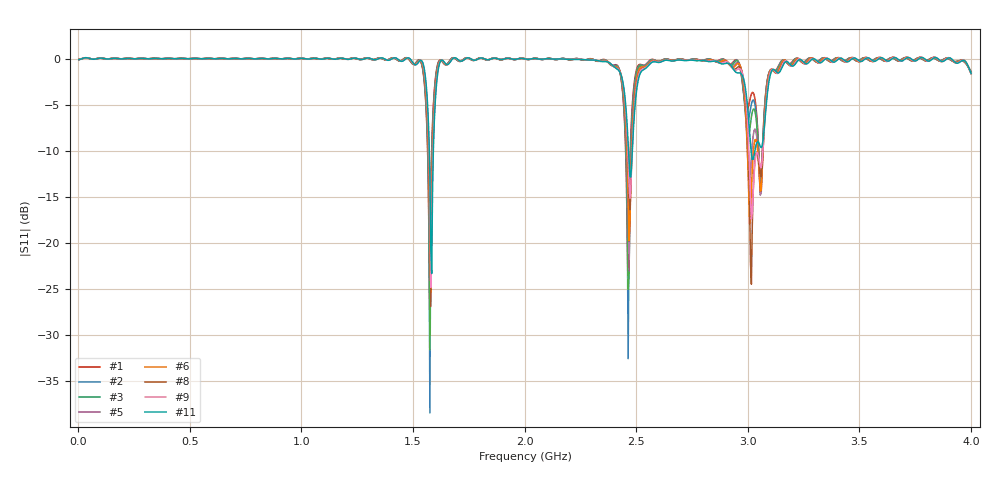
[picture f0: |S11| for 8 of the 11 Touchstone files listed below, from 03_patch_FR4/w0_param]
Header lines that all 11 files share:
! TOUCHSTONE file generated by CST MICROWAVE STUDIO
! Project name: AppElm_antenne_patch_FR4.cst
! Header version: 2018
! Port assignment regex: !\s*Touchstone port\s*([0-9]+)\s*=\s*(CST MWS port|CST DS port)\s*([0-9]+|Zmin|Zmax)\s*\(\"(.*)\"\)(\s*mode\s*([0-9]+))?.*
! Touchstone port assignment:
! Touchstone port 1 = CST MWS port 1 ("")
# GHz S MA R 50
Fixed: L = 45, W = 58.5, e = 0.035, h = 1.6, lambda = 0.190476, ls = 120, w1 = 0.847, ws = 120, y0 = 18, y1 = 23.8
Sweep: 4 MHz to 4 GHz
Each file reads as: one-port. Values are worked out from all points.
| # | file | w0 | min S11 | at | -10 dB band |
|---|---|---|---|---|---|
| 1 | AppElm_antenne_patch_FR4_1.s1p | 1.905 | -28.8 dB | 1.576 GHz | 20.94 MHz wide |
| 2 | AppElm_antenne_patch_FR4_2.s1p | 2.032 | -38.4 dB | 1.576 GHz | 18.51 MHz wide |
| 3 | AppElm_antenne_patch_FR4_3.s1p | 2.159 | -31.6 dB | 1.576 GHz | 21.49 MHz wide |
| 4 | AppElm_antenne_patch_FR4_4.s1p | 2.286 | -25.7 dB | 2.468 GHz | 21.6 MHz wide |
| 5 | AppElm_antenne_patch_FR4_5.s1p | 2.413 | -23.0 dB | 2.468 GHz | 21.56 MHz wide |
| 6 | AppElm_antenne_patch_FR4_6.s1p | 2.54 | -25.4 dB | 1.58 GHz | 26.92 MHz wide |
| 7 | AppElm_antenne_patch_FR4_7.s1p | 2.667 | -29.2 dB | 3.012 GHz | 32.23 MHz wide |
| 8 | AppElm_antenne_patch_FR4_8.s1p | 2.794 | -26.9 dB | 1.58 GHz | 66.2 MHz wide |
| 9 | AppElm_antenne_patch_FR4_9.s1p | 2.921 | -24.8 dB | 1.58 GHz | 62.65 MHz wide |
| 10 | AppElm_antenne_patch_FR4_10.s1p | 3.048 | -22.5 dB | 1.58 GHz | 29.4 MHz wide |
| 11 | AppElm_antenne_patch_FR4_11.s1p | 3.175 | -23.3 dB | 1.584 GHz | 18.22 MHz wide |
